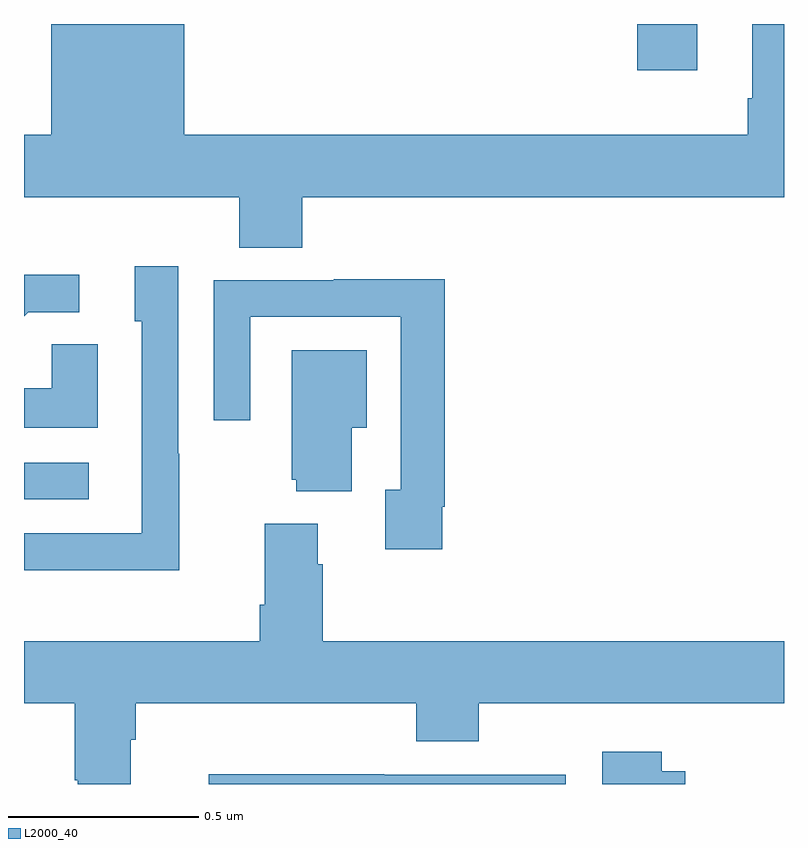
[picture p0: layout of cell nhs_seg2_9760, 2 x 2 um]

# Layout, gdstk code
import gdstk
lib = gdstk.Library(unit=1e-6, precision=1e-09)
def R(c, l, rs):  # rectangles x0, y0, x1, y1
    for r in rs: c.add(gdstk.rectangle(r[:2], r[2:], *l))
def P(c, l, *ps):  # polygons
    for p in ps: c.add(gdstk.Polygon(p, *l))
L2000_40 = (2000, 40)

nhs_seg2_9760 = lib.new_cell('nhs_seg2_9760')
R(nhs_seg2_9760, L2000_40, [(233,605.55,233.17,605.646), (234.614,606.678,234.772,606.8)])
P(nhs_seg2_9760, L2000_40, [(233.732,606.344),(235,606.344),(235,606.8),(234.917,606.8),(234.917,606.604),(234.905,606.604),(234.905,606.508),(233.422,606.508),(233.422,606.8),(233.072,606.8),(233.072,606.508),(233,606.508),(233,606.344),(233.567,606.344),(233.567,606.211),(233.732,606.211)],
  [(233.409,605.669),(233.406,605.669),(233.406,606.163),(233.291,606.163),(233.291,606.018),(233.31,606.018),(233.31,605.46),(233,605.46),(233,605.363),(233.409,605.363)],
  [(233.011,606.042),(233.146,606.042),(233.146,606.14),(233,606.14),(233,606.031)],
  [(234.1,605.53),(234.107,605.53),(234.107,606.128),(233.815,606.128),(233.815,606.126),(233.499,606.126),(233.499,605.757),(233.595,605.757),(233.595,606.03),(233.991,606.03),(233.991,605.574),(233.951,605.574),(233.951,605.418),(234.1,605.418)],
  [(233.194,605.957),(233.073,605.957),(233.073,605.842),(233,605.842),(233,605.738),(233.194,605.738)],
  [(233.863,605.738),(233.902,605.738),(233.902,605.941),(233.705,605.941),(233.705,605.601),(233.717,605.601),(233.717,605.57),(233.863,605.57)],
  [(233.281,604.916),(233.294,604.916),(233.294,605.012),(234.032,605.012),(234.032,604.913),(234.197,604.913),(234.197,605.012),(235,605.012),(235,605.176),(233.786,605.176),(233.786,605.378),(233.773,605.378),(233.773,605.485),(233.633,605.485),(233.633,605.272),(233.621,605.272),(233.621,605.176),(233,605.176),(233,605.012),(233.134,605.012),(233.134,604.81),(233.141,604.81),(233.141,604.8),(233.281,604.8)],
  [(234.74,604.833),(234.678,604.833),(234.678,604.885),(234.522,604.885),(234.522,604.8),(234.74,604.8)],
  [(234.426,604.824),(233.948,604.824),(233.948,604.826),(233.486,604.826),(233.486,604.8),(234.426,604.8)])

lib.write_gds('nhs_seg2_9760.gds')
